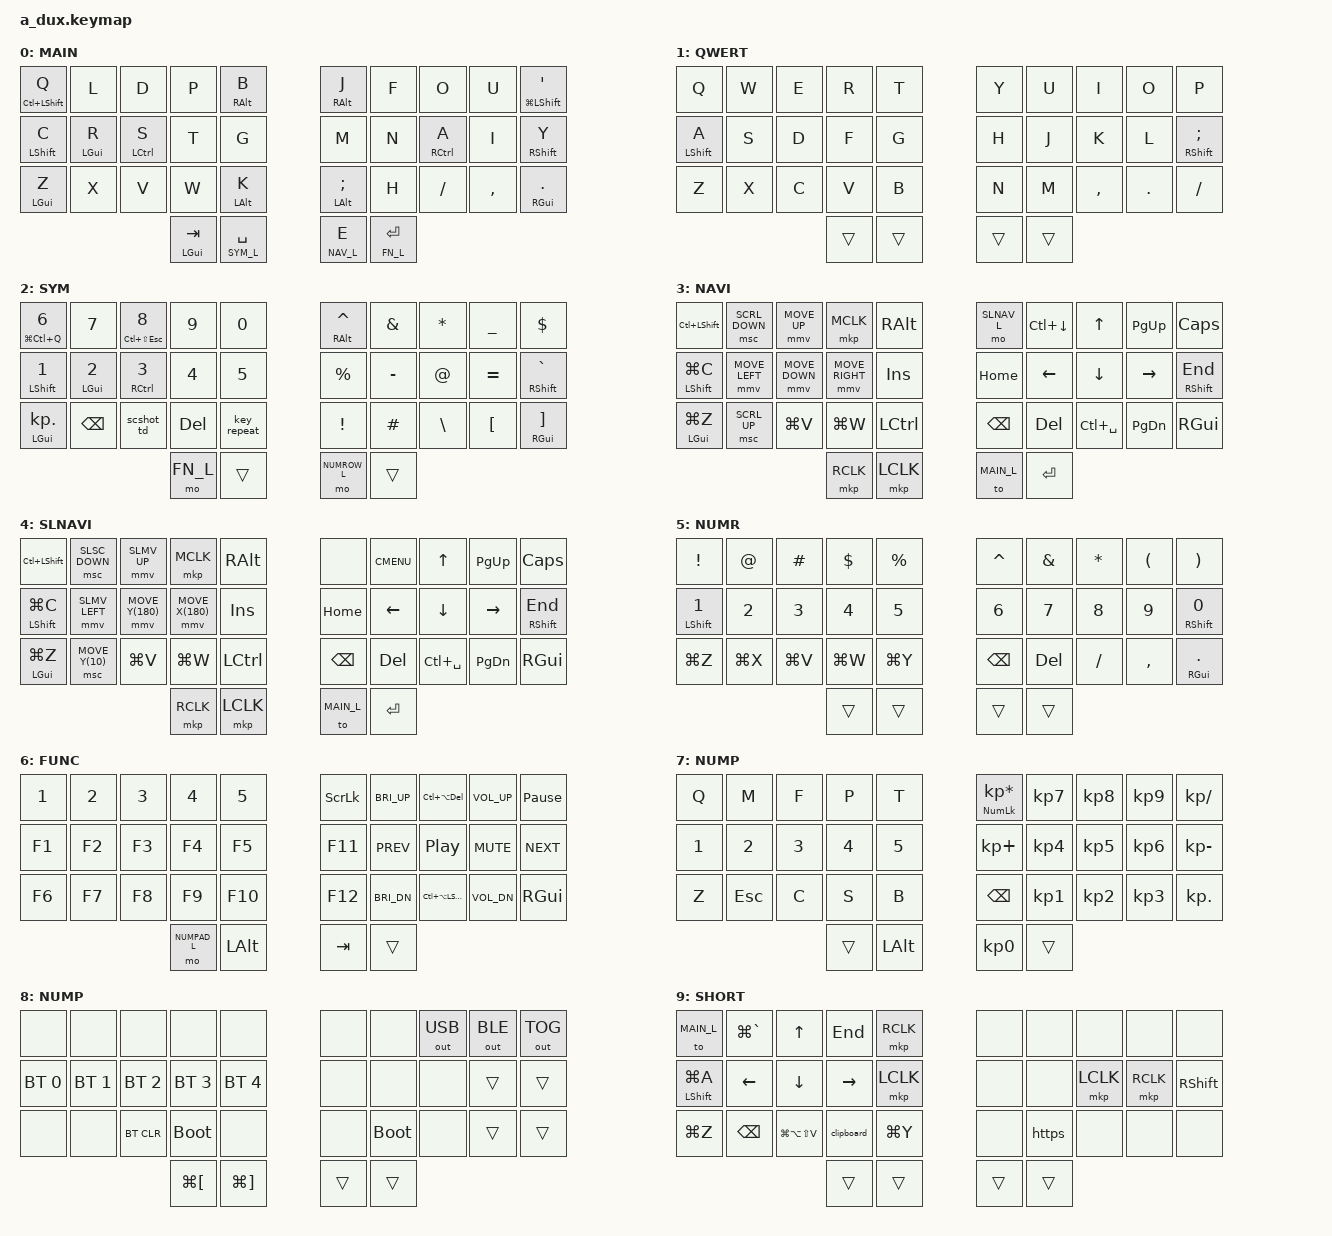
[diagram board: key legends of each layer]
/*
 * Copyright (c) 2021 The ZMK Contributors
 *
 * SPDX-License-Identifier: MIT
 */

#define ZMK_POINTING_DEFAULT_MOVE_VAL 1600  // default: 600
#define ZMK_POINTING_DEFAULT_SCRL_VAL 20    // default: 10

#include <behaviors.dtsi>
#include <dt-bindings/zmk/bt.h>
#include <dt-bindings/zmk/keys.h>
#include <dt-bindings/zmk/pointing.h>
#include <dt-bindings/zmk/outputs.h>

&sk {
  release-after-ms = <750>;
  quick-release;
};

&sl {
  release-after-ms = <3000>;
};

&lt {
  flavor = "balanced";
};

&key_repeat {
  usage-pages = <HID_USAGE_KEY HID_USAGE_CONSUMER>;
};

// Mouse move
&mmv {
  x-input-code = <INPUT_REL_X>;
  y-input-code = <INPUT_REL_Y>;
  time-to-max-speed-ms = <200>;
  acceleration-exponent = <1>;
};
// Mouse wheel
&msc {
  x-input-code = <INPUT_REL_HWHEEL>;
  y-input-code = <INPUT_REL_WHEEL>;
  time-to-max-speed-ms = <200>;
  acceleration-exponent = <0>;
};

#define SLMV_RIGHT MOVE_X(180)
#define SLMV_LEFT MOVE_X(-180)
#define SLMV_UP MOVE_Y(-180)
#define SLMV_DOWN MOVE_Y(180)
#define SLSC_UP MOVE_Y(10)
#define SLSC_DOWN MOVE_Y(-10)

#define MAIN_L   0
#define QWERTY_L 1
#define SYM_L    2
#define NAV_L    3
#define SLNAV_L  4
#define NUMROW_L 5
#define FN_L     6
#define NUMPAD_L 7
#define BOARD_L  8
#define SHCT_L   9

#define MEH LC(LA(LSHFT))
#define SW_LANG LC(SPACE)
#define TASK_MNG LC(LS(ESC))

#define KEYS_L 0 1 2 3 4 10 11 12 13 14 20 21 22 23 24  // left-hand keys
#define KEYS_R 5 6 7 8 9 15 16 17 18 19 25 26 27 28 29  // right-hand keys
#define THUMBS 30 31 32 33 34 35                        // thumb keys
#define EXTRA_L 2 3 4 12 13 14 22 23 24                 // extra left-hand keys
#define EXTRA_R 5 6 7 15 16 17 25 26 27                 // extra right-hand keys

/ {
  combos {
    compatible = "zmk,combos";

    // shortcut
    #define COMBO_A(NAME, BINDINGS, KEYPOS, TIMEOUT) \
      combo_##NAME { \
        timeout-ms = <TIMEOUT>; \
        bindings = <BINDINGS>; \
        key-positions = <KEYPOS>; \
      };

    #define COMBO_L(NAME, BINDINGS, LAYERS, KEYPOS, TIMEOUT) \
      combo_##NAME { \
        timeout-ms = <TIMEOUT>; \
        bindings = <BINDINGS>; \
        key-positions = <KEYPOS>; \
        layers = <LAYERS>; \
      };

      /*                KEY POSITIONS

      ╭────────────────────╮ ╭────────────────────╮
      │  0   1   2   3   4 │ │  5   6   7   8   9 │
      │ 10  11  12  13  14 │ │ 15  16  17  18  19 │
      │ 20  21  22  23  24 │ │ 25  26  27  28  29 │
      ╰───────────╮ 30  31 │ │ 32  33  ╭──────────╯
                  ╰────────╯ ╰─────────╯           */


    COMBO_L(enter, &kp ENTER, MAIN_L, 11 12, 30)
    COMBO_L(escape, &kp ESCAPE, MAIN_L, 1 2, 30)
    COMBO_L(swlang, &kp SW_LANG, MAIN_L, 10 11, 30)
    COMBO_L(repeat, &key_repeat, MAIN_L, 3 13, 30)

    COMBO_A(board_layer_mo, &mo BOARD_L, 14 24, 50)
    COMBO_A(board_layer_r, &sl BOARD_L, 26 27 28 29, 100)
    COMBO_A(function_layer_tg, &tog FN_L, 15 16 25 26, 50)
    COMBO_A(main_layer, &to MAIN_L, 20 21 22 23, 100)
    COMBO_A(shortcut_layer_tg, &shct SHCT_L SHCT_L, 30 31, 30)
    COMBO_A(numpad_layer_tg, &tog NUMPAD_L, 13 14 23 24, 50)
    COMBO_A(numrow_layer_mo, &mo NUMROW_L, 31 32, 50)
    COMBO_A(qwerty_layer, &to QWERTY_L, 0 1 2 3, 100)
    COMBO_A(nav_layer_to, &to NAV_L, 32 33, 50)
  };

  behaviors {
    hmt: hold-mod-tap {
      compatible = "zmk,behavior-hold-tap";
      display-name = "HOLD_MOD_TAP";
      #binding-cells = <2>;
      flavor = "hold-preferred";
      tapping-term-ms = <500>;
      bindings = <&kp>, <&kp>;
    };
    hml: home-row-left {
      compatible = "zmk,behavior-hold-tap";
      display-name = "HOME_ROW_LEFT";
      #binding-cells = <2>;
      flavor = "balanced";
      tapping-term-ms = <150>;
      quick-tap-ms = <50>;
      bindings = <&kp>, <&kp>;
      hold-trigger-key-positions = <KEYS_R EXTRA_L THUMBS>;
    };
    hmr: home-row-right {
      compatible = "zmk,behavior-hold-tap";
      display-name = "HOME_ROW_RIGHT";
      #binding-cells = <2>;
      flavor = "balanced";
      tapping-term-ms = <150>;
      quick-tap-ms = <50>;
      bindings = <&kp>, <&kp>;
      hold-trigger-key-positions = <KEYS_L EXTRA_R THUMBS>;
    };
    mtb: mod-tap-balanced {
      compatible = "zmk,behavior-hold-tap";
      display-name = "MOD_TAP_BALANCED";
      #binding-cells = <2>;
      flavor = "balanced";
      tapping-term-ms = <200>;
      bindings = <&kp>, <&kp>;
    };
    shct: shortcut_layer_switch {
      compatible = "zmk,behavior-hold-tap";
      display-name = "SHORTCUT_LAYER_SWITCH";
      #binding-cells = <2>;
      tapping-term-ms = <200>;
      flavor = "hold-preferred";
      bindings = <&mo>, <&tog>;
    };
    https: https_macro {
      compatible = "zmk,behavior-macro";
      display-name = "HTTPS_MACRO";
      #binding-cells = <0>;
      wait-ms = <5>;
      tap-ms = <5>;
      bindings = <&kp H &kp T &kp T &kp P &kp S &kp COLON &kp FSLH &kp FSLH>;
    };
    clipboard: clipboard_macro {
      compatible = "zmk,behavior-macro";
      display-name = "CLIPBOARD_MACRO";
      #binding-cells = <0>;
      wait-ms = <5>;
      tap-ms = <5>;
      bindings = <&kp LG(SPACE) &kp LG(N4)>;
    };
    scshot_td: screenshot_tap_dance {
      compatible = "zmk,behavior-tap-dance";
      display-name = "SCREENSHOT_TAP_DANCE";
      #binding-cells = <0>;
      tapping-term-ms = <300>;
      bindings = <&kp LG(LS(N4))>, <&kp LG(LS(N5))>, <&kp LG(LS(S))>;
    };
  };

  keymap {
    compatible = "zmk,keymap";

    // MAIN 
    main_layer {
      display-name = "MAIN";
      bindings = <
    //╭──────────────────────────────────────────────────────────────────────────────────╮  ╭────────────────────────────────────────────────────────────────────────────────────────────────╮
        &mtb LC(LSHFT) Q  &kp L           &kp D           &kp P           &mtb RALT B         &mtb RALT J             &kp F           &kp O               &kp U           &mtb LG(LSHFT) APOS
        &hml LSHFT C      &hml LGUI R     &hml LCTRL S    &kp T           &kp G               &kp M                   &kp N           &hmr RCTRL A        &kp I           &hmr RSHFT Y
        &mtb LGUI Z       &kp X           &kp V           &kp W           &mtb LALT K         &mtb LALT SEMICOLON     &kp H           &kp SLASH           &kp COMMA       &mtb RGUI DOT
    /*╰─────────────────────────────────────────────╮*/   &mt LGUI TAB    &lt SYM_L SPACE     &lt NAV_L E             &lt FN_L ENTER  /*╭────────────────────────────────────────────────────╯*/
    //                                              ╰────────────────────────────────────╯  ╰───────────────────────────────────────────╯
      >;  
    };

    qwerty_layer {
      display-name = "QWERT";
      bindings = < 
    //╭──────────────────────────────────────────────────────────────────────────────────╮  ╭────────────────────────────────────────────────────────────────────────────────────────────────╮
        &kp Q             &kp W           &kp E           &kp R           &kp T               &kp Y                   &kp U           &kp I               &kp O           &kp P
        &hml LSHFT  A     &kp S           &kp D           &kp F           &kp G               &kp H                   &kp J           &kp K               &kp L           &hmr RSHFT SEMICOLON
        &kp Z             &kp X           &kp C           &kp V           &kp B               &kp N                   &kp M           &kp COMMA           &kp DOT         &kp SLASH
    /*╰─────────────────────────────────────────────╮*/   &trans          &trans              &trans                  &trans          /*╭────────────────────────────────────────────────────╯*/
    //                                              ╰────────────────────────────────────╯  ╰───────────────────────────────────────────╯
      >;      
    };

    sym_layer {
      display-name = "SYM";
      bindings = <
    //╭──────────────────────────────────────────────────────────────────────────────────╮  ╭────────────────────────────────────────────────────────────────────────────────────────────────╮
        &hmt LG(LC(Q)) N6 &kp N7          &hmt TASK_MNG N8 &kp N9         &kp N0              &mtb RALT CARET         &kp AMPS        &kp STAR            &kp UNDERSCORE  &kp DLLR
        &mtb LSHFT N1     &mtb LGUI N2    &hml RCTRL N3   &kp N4          &kp N5              &kp PRCNT               &kp MINUS       &kp AT              &kp EQUAL       &mtb RSHFT GRAVE
        &mtb LGUI KP_DOT  &kp BSPC        &scshot_td      &kp DELETE      &key_repeat         &kp EXCL                &kp HASH        &kp BSLH            &kp LBKT        &mtb RGUI RBKT
    /*╰─────────────────────────────────────────────╮*/   &mo FN_L        &trans              &mo NUMROW_L            &trans          /*╭────────────────────────────────────────────────────╯*/
    //                                              ╰────────────────────────────────────╯  ╰───────────────────────────────────────────╯
      >;
    };

    nav_layer {
      display-name = "NAVI";
      bindings = <
    //╭──────────────────────────────────────────────────────────────────────────────────╮  ╭────────────────────────────────────────────────────────────────────────────────────────────────╮
        &kp LC(LSHFT)     &msc SCRL_DOWN  &mmv MOVE_UP    &mkp MCLK       &kp RALT            &mo SLNAV_L             &kp LC(DOWN)    &kp UP              &kp PAGE_UP     &kp CAPS
        &mtb LSHFT LG(C)  &mmv MOVE_LEFT  &mmv MOVE_DOWN  &mmv MOVE_RIGHT &kp INSERT          &kp HOME                &kp LEFT        &kp DOWN            &kp RIGHT       &mtb RSHFT END
        &mtb LGUI LG(Z)   &msc SCRL_UP    &kp LG(V)       &kp LG(W)       &kp LCTL            &kp BACKSPACE           &kp DELETE      &kp SW_LANG         &kp PAGE_DOWN   &kp RGUI
    /*╰─────────────────────────────────────────────╮*/   &mkp RCLK       &mkp LCLK           &to MAIN_L              &kp ENTER       /*╭────────────────────────────────────────────────────╯*/
    //                                              ╰────────────────────────────────────╯  ╰───────────────────────────────────────────╯
      >; 
    };

    slow_nav_layer {
      display-name = "SLNAVI";
      bindings = <
    //╭──────────────────────────────────────────────────────────────────────────────────╮  ╭────────────────────────────────────────────────────────────────────────────────────────────────╮
        &kp LC(LSHFT)     &msc SLSC_DOWN  &mmv SLMV_UP    &mkp MCLK       &kp RALT            &none                   &kp K_CMENU     &kp UP              &kp PAGE_UP     &kp CAPS
        &mtb LSHFT LG(C)  &mmv SLMV_LEFT  &mmv SLMV_DOWN  &mmv SLMV_RIGHT &kp INSERT          &kp HOME                &kp LEFT        &kp DOWN            &kp RIGHT       &mtb RSHFT END
        &mtb LGUI LG(Z)   &msc SLSC_UP    &kp LG(V)       &kp LG(W)       &kp LCTL            &kp BACKSPACE           &kp DELETE      &kp SW_LANG         &kp PAGE_DOWN   &kp RGUI
    /*╰─────────────────────────────────────────────╮*/   &mkp RCLK       &mkp LCLK           &to MAIN_L              &kp ENTER       /*╭────────────────────────────────────────────────────╯*/
    //                                              ╰────────────────────────────────────╯  ╰───────────────────────────────────────────╯
      >; 
    };

    numrow_layer {
      display-name = "NUMR";
      bindings = <
    //╭──────────────────────────────────────────────────────────────────────────────────╮  ╭────────────────────────────────────────────────────────────────────────────────────────────────╮
        &kp EXCL          &kp AT          &kp HASH        &kp DLLR        &kp PRCNT           &kp CARET               &kp AMPS        &kp STAR            &kp LPAR        &kp RPAR
        &mtb LSHFT N1     &kp N2          &kp N3          &kp N4          &kp N5              &kp N6                  &kp N7          &kp N8              &kp N9          &mtb RSHFT N0
        &kp LG(Z)         &kp LG(X)       &kp LG(V)       &kp LG(W)       &kp LG(Y)           &kp BACKSPACE           &kp DELETE      &kp SLASH           &kp COMMA       &mtb RGUI DOT
    /*╰─────────────────────────────────────────────╮*/   &trans          &trans              &trans                  &trans          /*╭────────────────────────────────────────────────────╯*/
    //                                              ╰────────────────────────────────────╯  ╰───────────────────────────────────────────╯
      >;
    };

    function_layer {
      display-name = "FUNC";
      bindings = <
    //╭──────────────────────────────────────────────────────────────────────────────────╮  ╭────────────────────────────────────────────────────────────────────────────────────────────────╮
        &kp N1            &kp N2          &kp N3          &kp N4          &kp N5              &kp SCROLLLOCK          &kp C_BRI_UP    &kp LC(LA(DEL))     &kp C_VOL_UP    &kp PAUSE_BREAK
        &kp F1            &kp F2          &kp F3          &kp F4          &kp F5              &kp F11                 &kp C_PREV      &kp C_PLAY_PAUSE    &kp C_MUTE      &kp C_NEXT
        &kp F6            &kp F7          &kp F8          &kp F9          &kp F10             &kp F12                 &kp C_BRI_DN    &kp MEH             &kp C_VOL_DN    &kp RGUI
    /*╰─────────────────────────────────────────────╮*/   &mo NUMPAD_L    &kp LALT            &kp TAB                 &trans          /*╭────────────────────────────────────────────────────╯*/
    //                                              ╰────────────────────────────────────╯  ╰───────────────────────────────────────────╯
      >;
    };

    numpad_layer {
      display-name = "NUMP";
      bindings = <
    //╭──────────────────────────────────────────────────────────────────────────────────╮  ╭────────────────────────────────────────────────────────────────────────────────────────────────╮
        &kp Q             &kp M           &kp F           &kp P           &kp T               &hmt KP_NUM KP_MULTIPLY &kp KP_N7       &kp KP_N8           &kp KP_N9       &kp KP_DIVIDE
        &kp N1            &kp N2          &kp N3          &kp N4          &kp N5              &kp KP_PLUS             &kp KP_N4       &kp KP_N5           &kp KP_N6       &kp KP_SUBTRACT
        &kp Z             &kp ESC         &kp C           &kp S           &kp B               &kp BACKSPACE           &kp KP_N1       &kp KP_N2           &kp KP_N3       &kp KP_DOT
    /*╰─────────────────────────────────────────────╮*/   &trans          &kp LALT            &kp KP_N0               &trans          /*╭────────────────────────────────────────────────────╯*/
    //                                              ╰────────────────────────────────────╯  ╰───────────────────────────────────────────╯
      >;
    };

    board_layer {
      display-name = "NUMP";
      bindings = <
    //╭──────────────────────────────────────────────────────────────────────────────────╮  ╭────────────────────────────────────────────────────────────────────────────────────────────────╮
        &none             &none           &none           &none           &none               &none                   &none           &out OUT_USB        &out OUT_BLE    &out OUT_TOG
        &bt BT_SEL 0      &bt BT_SEL 1    &bt BT_SEL 2    &bt BT_SEL 3    &bt BT_SEL 4        &none                   &none           &none               &trans          &trans
        &none             &none           &bt BT_CLR      &bootloader     &none               &none                   &bootloader     &none               &trans          &trans
    /*╰─────────────────────────────────────────────╮*/   &kp LG(LBKT)    &kp LG(RBKT)        &trans                  &trans          /*╭────────────────────────────────────────────────────╯*/
    //                                              ╰────────────────────────────────────╯  ╰───────────────────────────────────────────╯
      >;
    };

    shortcut_layer {
      display-name = "SHORT";
      bindings = <
    //╭──────────────────────────────────────────────────────────────────────────────────╮  ╭────────────────────────────────────────────────────────────────────────────────────────────────╮
        &to MAIN_L        &kp LG(GRAVE)   &kp UP          &kp END         &mkp RCLK           &none                   &none           &none               &none           &none
        &mtb LSHFT LG(A)  &kp LEFT        &kp DOWN        &kp RIGHT       &mkp LCLK           &none                   &none           &mkp LCLK           &mkp RCLK       &kp RSHFT
        &kp LG(Z)         &kp BSPC        &kp LG(LA(LS(V))) &clipboard    &kp LG(Y)           &none                   &https          &none               &none           &none
    /*╰─────────────────────────────────────────────╮*/   &trans          &trans              &trans                  &trans          /*╭────────────────────────────────────────────────────╯*/
    //                                              ╰────────────────────────────────────╯  ╰───────────────────────────────────────────╯
      >; 
    };

  };
};
